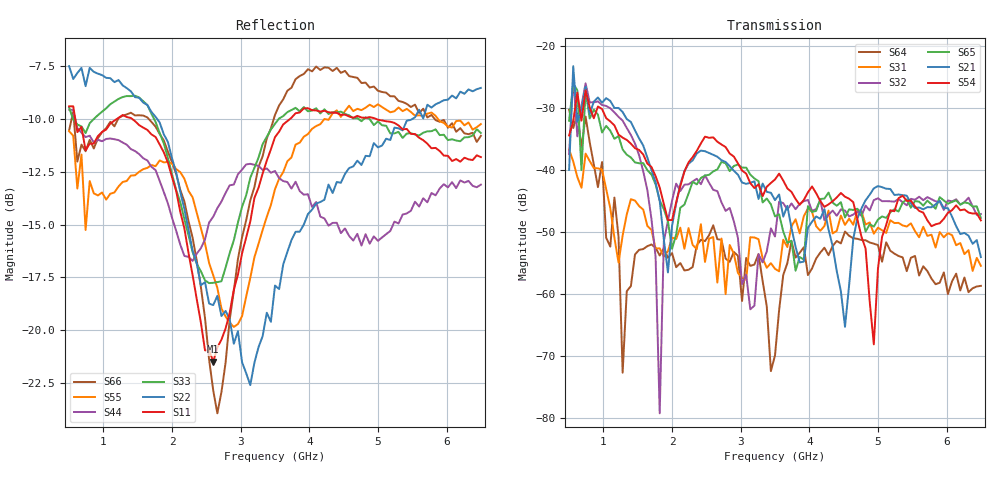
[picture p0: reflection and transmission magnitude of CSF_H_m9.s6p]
!Keysight Technologies,M9804A,MY58100912,A.14.10.03
!Date: Thursday, April 27, 2023 10:28:33
!Correction: S11(C  6-Port  )
!S12(C  6-Port  )
!S13(C  6-Port  )
!S14(C  6-Port  )
!S15(C  6-Port  )
!S16(C  6-Port  )
!S21(C  6-Port  )
!S22(C  6-Port  )
!S23(C  6-Port  )
!S24(C  6-Port  )
!S25(C  6-Port  )
!S26(C  6-Port  )
!S31(C  6-Port  )
!S32(C  6-Port  )
!S33(C  6-Port  )
!S34(C  6-Port  )
!S35(C  6-Port  )
!S36(C  6-Port  )
!S41(C  6-Port  )
!S42(C  6-Port  )
!S43(C  6-Port  )
!S44(C  6-Port  )
!S45(C  6-Port  )
!S46(C  6-Port  )
!S51(C  6-Port  )
!S52(C  6-Port  )
!S53(C  6-Port  )
!S54(C  6-Port  )
!S55(C  6-Port  )
!S56(C  6-Port  )
!S61(C  6-Port  )
!S62(C  6-Port  )
!S63(C  6-Port  )
!S64(C  6-Port  )
!S65(C  6-Port  )
!S66(C  6-Port  )
!S6P File: Measurement: :
# Hz S  RI  R 50
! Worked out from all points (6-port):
!   101 points, 500 MHz to 6.5 GHz, reference 50 ohm
!   strongest paths, dB at 500 MHz, 2 GHz, 3.5 GHz, 5 GHz, 6.5 GHz:
!     S54: -34.5, -48.1, -41.6, -55.9, -48.1
!     S21: -40.0, -49.0, -44.9, -42.6, -54.0
!     S65: -32.1, -52.7, -47.5, -48.0, -47.7
!     S32: -37.4, -45.0, -50.7, -44.6, -47.1
!     S31: -36.7, -50.9, -55.9, -49.3, -55.5
!     S64: -30.3, -53.4, -69.9, -52.1, -58.7
!   lowest |S11| = -21.5 dB at 2.6 GHz (marker M1), VSWR 1.18, Z = 42.5 + j2.2 ohm
!   |S11| at or under -10 dB: 589.8 MHz to 1.192 GHz (602.1 MHz wide, 67.6 % of centre); 1.422 GHz to 3.715 GHz (2.293 GHz wide, 89.3 % of centre); 4.979 GHz to end of sweep
